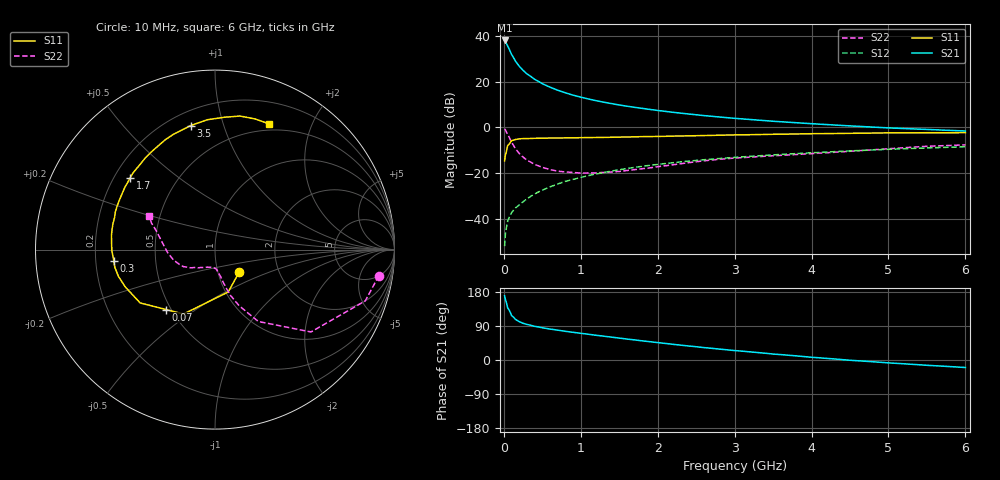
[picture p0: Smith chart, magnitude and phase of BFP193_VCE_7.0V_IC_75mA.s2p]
! Infineon Technologies  Discrete & RF Semiconductors
! BFP193
! VCE =  7.0 V,  IC =  75 mA
! Common Emitter S-Parameters:  Jan 2017
# GHz  S  MA  R  50
!  f  S11  S21  S12  S22
! GHz  MAG  ANG  MAG  ANG  MAG  ANG  MAG  ANG
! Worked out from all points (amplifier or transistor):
!   77 points, 10 MHz to 6 GHz, reference 50 ohm
!   highest |S21| = 38.0 dB at 10 MHz (marker M1)
!   |S21| within 3 dB of that: start of sweep to 58.56 MHz
!   unconditionally stable (mu >= 1): 468.9 MHz to 2.439 GHz
!   at 130 MHz: K = 0.67, MSG = 33.2 dB, |S12| = -36.1 dB
!   at 2.2 GHz: K = 1.01, MAG = 10.4 dB, |S12| = -15.5 dB
!   at 6 GHz: K = 0.92, MSG = 3.4 dB, |S12| = -8.5 dB
!   S11 on the Smith chart (normalised r, x): 10 MHz: 1.26, -0.33; 70 MHz: 0.47, -0.39; 300 MHz: 0.28, -0.05; 1.7 GHz: 0.27, +0.34; 3.5 GHz: 0.29, +0.78; 6 GHz: 0.43, +1.43
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0.01  0.1843 -43.2  79.77 169.4  0.0025 78.6  0.9247 -9.0
0.02  0.2476 -72.7  77.03 160.0  0.0045 86.2  0.8848 -18.8
0.05  0.3996 -116.1  60.42 137.3  0.0088 64.0  0.7048 -40.6
0.07  0.431 -129.2  51.41 131.2  0.0107 62.4  0.6036 -46.2
0.1  0.5119 -144.5  39.58 117.2  0.0135 60.9  0.4682 -58.9
0.15  0.5413 -157.3  28.26 107.4  0.0171 60.2  0.3397 -66.8
0.2  0.5586 -164.6  21.79 101.3  0.0199 65.1  0.2682 -71.4
0.25  0.5667 -170.0  17.67 96.9  0.0235 63.9  0.2234 -73.7
0.3  0.5673 -173.8  14.81 93.9  0.0272 68.6  0.191 -75.7
0.4  0.575 -179.6  11.26 88.9  0.0347 69.6  0.1542 -78.2
0.5  0.5777 176.0  9.031 85.1  0.0421 70.2  0.1329 -81.0
0.6  0.5824 172.0  7.568 81.7  0.0497 70.4  0.1188 -83.9
0.8  0.5866 165.3  5.699 75.7  0.0657 70.3  0.1056 -88.9
1.1  0.5968 156.2  4.174 67.9  0.0879 67.8  0.0999 -99.4
1.4  0.6057 147.9  3.307 60.3  0.1106 64.8  0.1052 -111.3
1.7  0.6186 139.7  2.741 53.0  0.1327 61.4  0.1185 -122.4
2.1  0.636 129.4  2.234 43.7  0.161 56.3  0.1441 -135.7
3.1  0.6855 108.2  1.528 23.3  0.2254 43.5  0.2172 -158.4
3.5  0.7042 101.1  1.359 15.7  0.2491 39.1  0.2388 -166.1
4.1  0.7266 91.9  1.174 5.8  0.2826 31.7  0.2716 -179.5
5.1  0.7572 78.1  0.956 -8.8  0.3346 20.1  0.3481 161.6
6  0.7627 66.9  0.83 -19.8  0.3756 9.9  0.4128 152.6
